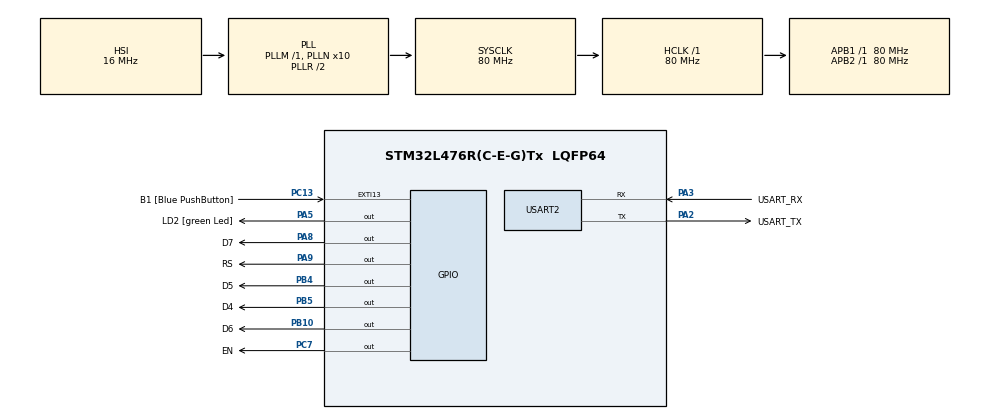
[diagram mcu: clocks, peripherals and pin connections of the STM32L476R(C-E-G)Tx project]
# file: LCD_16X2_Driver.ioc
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Mcu.Family=STM32L4
Mcu.Name=STM32L476R(C-E-G)Tx
Mcu.Package=LQFP64
NVIC.PriorityGroup=NVIC_PRIORITYGROUP_4
PA13\ (JTMS-SWDIO).GPIO_Label=TMS
PA13\ (JTMS-SWDIO).Mode=Serial_Wire
PA13\ (JTMS-SWDIO).Signal=SYS_JTMS-SWDIO
PA14\ (JTCK-SWCLK).GPIO_Label=TCK
PA14\ (JTCK-SWCLK).Mode=Serial_Wire
PA14\ (JTCK-SWCLK).Signal=SYS_JTCK-SWCLK
PA2.GPIO_Label=USART_TX
PA2.GPIO_Mode=GPIO_MODE_AF_PP
PA2.GPIO_PuPd=GPIO_NOPULL
PA2.GPIO_Speed=GPIO_SPEED_FREQ_VERY_HIGH
PA2.Mode=Asynchronous
PA2.Signal=USART2_TX
PA3.GPIO_Label=USART_RX
PA3.GPIO_Mode=GPIO_MODE_AF_PP
PA3.GPIO_PuPd=GPIO_NOPULL
PA3.GPIO_Speed=GPIO_SPEED_FREQ_VERY_HIGH
PA3.Mode=Asynchronous
PA3.Signal=USART2_RX
PA5.GPIO_Label=LD2 [green Led]
PA5.GPIO_ModeDefaultOutputPP=GPIO_MODE_OUTPUT_PP
PA5.GPIO_PuPd=GPIO_NOPULL
PA5.GPIO_Speed=GPIO_SPEED_FREQ_LOW
PA5.Signal=GPIO_Output
PA8.GPIO_Label=D7
PA8.Signal=GPIO_Output
PA9.GPIO_Label=RS
PA9.Signal=GPIO_Output
PB10.GPIO_Label=D6
PB10.Signal=GPIO_Output
PB3\ (JTDO-TRACESWO).GPIO_Label=SWO
PB3\ (JTDO-TRACESWO).Signal=SYS_JTDO-SWO
PB4\ (NJTRST).GPIO_Label=D5
PB4\ (NJTRST).Signal=GPIO_Output
PB5.GPIO_Label=D4
PB5.Signal=GPIO_Output
PC13.GPIO_Label=B1 [Blue PushButton]
PC13.GPIO_ModeDefaultEXTI=GPIO_MODE_IT_FALLING
PC13.GPIO_PuPd=GPIO_NOPULL
PC13.Signal=GPXTI13
PC14-OSC32_IN\ (PC14).Mode=LSE-External-Oscillator
PC14-OSC32_IN\ (PC14).Signal=RCC_OSC32_IN
PC15-OSC32_OUT\ (PC15).Mode=LSE-External-Oscillator
PC15-OSC32_OUT\ (PC15).Signal=RCC_OSC32_OUT
PC7.GPIO_Label=EN
PC7.Signal=GPIO_Output
PH0-OSC_IN\ (PH0).Signal=RCC_OSC_IN
PH1-OSC_OUT\ (PH1).Signal=RCC_OSC_OUT
ProjectManager.HeapSize=0x200
ProjectManager.StackSize=0x400
ProjectManager.TargetToolchain=STM32CubeIDE
RCC.ADCFreq_Value=64000000
RCC.AHBFreq_Value=80000000
RCC.APB1Freq_Value=80000000
RCC.APB1TimFreq_Value=80000000
RCC.APB2Freq_Value=80000000
RCC.APB2TimFreq_Value=80000000
RCC.CortexFreq_Value=80000000
RCC.HCLKFreq_Value=80000000
RCC.HSE_VALUE=8000000
RCC.HSI_VALUE=16000000
RCC.MSI_VALUE=4000000
RCC.PLLN=10
RCC.PLLSourceVirtual=RCC_PLLSOURCE_HSI
RCC.PREFETCH_ENABLE=1
RCC.SYSCLKFreq_VALUE=80000000
RCC.SYSCLKSource=RCC_SYSCLKSOURCE_PLLCLK
RCC.USBFreq_Value=64000000
RCC.VCOOutputFreq_Value=160000000
USART2.VirtualMode-Asynchronous=VM_ASYNC
board=NUCLEO-L476RG

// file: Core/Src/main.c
/* USER CODE BEGIN Header */
/**
  ******************************************************************************
  * @file           : main.c
  * @brief          : Main program body
  ******************************************************************************
  * @attention
  *
  * Copyright (c) 2023 STMicroelectronics.
  * All rights reserved.
  *
  * This software is licensed under terms that can be found in the LICENSE file
  * in the root directory of this software component.
  * If no LICENSE file comes with this software, it is provided AS-IS.
  *
  ******************************************************************************
  */
/* USER CODE END Header */
#include "main.h"

UART_HandleTypeDef huart2;

void SystemClock_Config(void);
static void MX_GPIO_Init(void);
static void MX_USART2_UART_Init(void);
/* USER CODE BEGIN PFP */

void transmit_bits_to_LCD(uint8_t RS, char DATA){

	HAL_GPIO_WritePin(GPIOC,GPIO_PIN_7, 0); // reset EN
	HAL_Delay(0.1);

	HAL_GPIO_WritePin(GPIOA,GPIO_PIN_9,RS);                // choose RS

	// transmit higher 4 bits
	HAL_GPIO_WritePin(GPIOA,GPIO_PIN_8,  DATA & (1 << 7)); // D7
	HAL_GPIO_WritePin(GPIOB,GPIO_PIN_10, DATA & (1 << 6)); // D6
	HAL_GPIO_WritePin(GPIOB,GPIO_PIN_4,  DATA & (1 << 5)); // D5
	HAL_GPIO_WritePin(GPIOB,GPIO_PIN_5,  DATA & (1 << 4)); // D4

	HAL_Delay(0.1);
	HAL_GPIO_WritePin(GPIOC,GPIO_PIN_7,  1); // set EN
	HAL_Delay(0.1);
	HAL_GPIO_WritePin(GPIOC,GPIO_PIN_7,  0); // reset EN

	// transmit lower 4 bits
	HAL_GPIO_WritePin(GPIOA,GPIO_PIN_8,  DATA & (1 << 3)); // D7
	HAL_GPIO_WritePin(GPIOB,GPIO_PIN_10, DATA & (1 << 2)); // D6
	HAL_GPIO_WritePin(GPIOB,GPIO_PIN_4,  DATA & (1 << 1)); // D5
	HAL_GPIO_WritePin(GPIOB,GPIO_PIN_5,  DATA & (1 << 0)); // D4

	HAL_Delay(0.1);
	HAL_GPIO_WritePin(GPIOC,GPIO_PIN_7, 1); // set EN
	HAL_Delay(0.1);
	HAL_GPIO_WritePin(GPIOC,GPIO_PIN_7, 0); // reset EN
}

void set_LCD_transmission_mode(uint8_t RS, char DATA){
	HAL_GPIO_WritePin(GPIOC,GPIO_PIN_7, 0); // reset EN
	HAL_Delay(0.1);

	HAL_GPIO_WritePin(GPIOA,GPIO_PIN_9,RS);                // choose RS

	// transmit higher 4 bits
	HAL_GPIO_WritePin(GPIOA,GPIO_PIN_8,  DATA & (1 << 7)); // D7
	HAL_GPIO_WritePin(GPIOB,GPIO_PIN_10, DATA & (1 << 6)); // D6
	HAL_GPIO_WritePin(GPIOB,GPIO_PIN_4,  DATA & (1 << 5)); // D5
	HAL_GPIO_WritePin(GPIOB,GPIO_PIN_5,  DATA & (1 << 4)); // D4

	HAL_Delay(0.1);
	HAL_GPIO_WritePin(GPIOC,GPIO_PIN_7,  1); // set EN
	HAL_Delay(0.1);
	HAL_GPIO_WritePin(GPIOC,GPIO_PIN_7,  0); // reset EN
}

void transmit_characters_to_1st_line(char* string){

	transmit_bits_to_LCD(0, 0b00000010); // set cursor to the 1st column of 2nd line
	while(*string != '\0'){
		transmit_bits_to_LCD(1,*string);
		string++;
	}
}

void transmit_characters_to_2nd_line(char* string){

	transmit_bits_to_LCD(0, 0b11000000); // set cursor to the 1st column of 2nd line
	while(*string != '\0'){
		transmit_bits_to_LCD(1,*string);
		string++;
	}
}
/* USER CODE END PFP */

int main(void)
{

  /* MCU Configuration--------------------------------------------------------*/

  /* Reset of all peripherals, Initializes the Flash interface and the Systick. */
  HAL_Init();

  /* Configure the system clock */
  SystemClock_Config();

  /* Initialize all configured peripherals */
  MX_GPIO_Init();
  MX_USART2_UART_Init();
  /* USER CODE BEGIN 2 */
  HAL_Delay(1000);
  char INSTRUCTION_ON_POWERUP_4BIT_MODE = 0b00100000;
  char INSTRUCTION_4BIT_MODE_AND_5X8FONT_AND_1LINEDISPLAY = 0b00100000;
  char INSTRUCTION_4BIT_MODE_AND_5X8FONT_AND_2LINEDISPLAY = 0b00101000;
  char INSTRUCTION_TURNON_DISPLAY_AND_CURSOR = 0b00001110;
  char INSTRUCTION_MOVE_CURSOR_ON_WRITE = 0b00000110;
  char INSTRCTION_RETURN_TO_1STLINE = 0b00000010;
  char INSTRCTION_CLEAR_DISPLAY = 0b00000001;

  uint8_t INSTRUCTION_REGISTER = 0;
  uint8_t DATA_REGISTER = 1;

  set_LCD_transmission_mode(INSTRUCTION_REGISTER, INSTRUCTION_ON_POWERUP_4BIT_MODE);
  transmit_bits_to_LCD(INSTRUCTION_REGISTER,INSTRUCTION_4BIT_MODE_AND_5X8FONT_AND_2LINEDISPLAY);
  transmit_bits_to_LCD(INSTRUCTION_REGISTER,INSTRUCTION_TURNON_DISPLAY_AND_CURSOR);
  transmit_bits_to_LCD(INSTRUCTION_REGISTER,INSTRUCTION_MOVE_CURSOR_ON_WRITE);
  transmit_bits_to_LCD(INSTRUCTION_REGISTER,INSTRCTION_RETURN_TO_1STLINE);

  /*
  transmit_bits_to_LCD(DATA_REGISTER,'H');
  transmit_bits_to_LCD(DATA_REGISTER,'I');
  transmit_bits_to_LCD(DATA_REGISTER,' ');
  transmit_bits_to_LCD(DATA_REGISTER,'T');

  HAL_Delay(2000);
  transmit_bits_to_LCD(INSTRUCTION_REGISTER,INSTRCTION_CLEAR_DISPLAY);
*/

  char V[] = "Vset:20V <3 ,,/,,";
  transmit_characters_to_1st_line(V);

  char I[] = "Iset:3A <3";
  transmit_characters_to_2nd_line(I);
  /* USER CODE END 2 */

  /* Infinite loop */
  while (1)
  {

  }
}

void SystemClock_Config(void)
{
  RCC_OscInitTypeDef RCC_OscInitStruct = {0};
  RCC_ClkInitTypeDef RCC_ClkInitStruct = {0};

  /** Configure the main internal regulator output voltage
  */
  if (HAL_PWREx_ControlVoltageScaling(PWR_REGULATOR_VOLTAGE_SCALE1) != HAL_OK)
  {
    Error_Handler();
  }

  /** Initializes the RCC Oscillators according to the specified parameters
  * in the RCC_OscInitTypeDef structure.
  */
  RCC_OscInitStruct.OscillatorType = RCC_OSCILLATORTYPE_HSI;
  RCC_OscInitStruct.HSIState = RCC_HSI_ON;
  RCC_OscInitStruct.HSICalibrationValue = RCC_HSICALIBRATION_DEFAULT;
  RCC_OscInitStruct.PLL.PLLState = RCC_PLL_ON;
  RCC_OscInitStruct.PLL.PLLSource = RCC_PLLSOURCE_HSI;
  RCC_OscInitStruct.PLL.PLLM = 1;
  RCC_OscInitStruct.PLL.PLLN = 10;
  RCC_OscInitStruct.PLL.PLLP = RCC_PLLP_DIV7;
  RCC_OscInitStruct.PLL.PLLQ = RCC_PLLQ_DIV2;
  RCC_OscInitStruct.PLL.PLLR = RCC_PLLR_DIV2;
  if (HAL_RCC_OscConfig(&RCC_OscInitStruct) != HAL_OK)
  {
    Error_Handler();
  }

  /** Initializes the CPU, AHB and APB buses clocks
  */
  RCC_ClkInitStruct.ClockType = RCC_CLOCKTYPE_HCLK|RCC_CLOCKTYPE_SYSCLK
                              |RCC_CLOCKTYPE_PCLK1|RCC_CLOCKTYPE_PCLK2;
  RCC_ClkInitStruct.SYSCLKSource = RCC_SYSCLKSOURCE_PLLCLK;
  RCC_ClkInitStruct.AHBCLKDivider = RCC_SYSCLK_DIV1;
  RCC_ClkInitStruct.APB1CLKDivider = RCC_HCLK_DIV1;
  RCC_ClkInitStruct.APB2CLKDivider = RCC_HCLK_DIV1;

  if (HAL_RCC_ClockConfig(&RCC_ClkInitStruct, FLASH_LATENCY_4) != HAL_OK)
  {
    Error_Handler();
  }
}

static void MX_USART2_UART_Init(void)
{

  huart2.Instance = USART2;
  huart2.Init.BaudRate = 115200;
  huart2.Init.WordLength = UART_WORDLENGTH_8B;
  huart2.Init.StopBits = UART_STOPBITS_1;
  huart2.Init.Parity = UART_PARITY_NONE;
  huart2.Init.Mode = UART_MODE_TX_RX;
  huart2.Init.HwFlowCtl = UART_HWCONTROL_NONE;
  huart2.Init.OverSampling = UART_OVERSAMPLING_16;
  huart2.Init.OneBitSampling = UART_ONE_BIT_SAMPLE_DISABLE;
  huart2.AdvancedInit.AdvFeatureInit = UART_ADVFEATURE_NO_INIT;
  if (HAL_UART_Init(&huart2) != HAL_OK)
  {
    Error_Handler();
  }

}

static void MX_GPIO_Init(void)
{
  GPIO_InitTypeDef GPIO_InitStruct = {0};

  /* GPIO Ports Clock Enable */
  __HAL_RCC_GPIOC_CLK_ENABLE();
  __HAL_RCC_GPIOH_CLK_ENABLE();
  __HAL_RCC_GPIOA_CLK_ENABLE();
  __HAL_RCC_GPIOB_CLK_ENABLE();

  /*Configure GPIO pin Output Level */
  HAL_GPIO_WritePin(GPIOA, LD2_Pin|D7_Pin|RS_Pin, GPIO_PIN_RESET);

  /*Configure GPIO pin Output Level */
  HAL_GPIO_WritePin(GPIOB, D6_Pin|D5_Pin|D4_Pin, GPIO_PIN_RESET);

  /*Configure GPIO pin Output Level */
  HAL_GPIO_WritePin(EN_GPIO_Port, EN_Pin, GPIO_PIN_RESET);

  /*Configure GPIO pin : B1_Pin */
  GPIO_InitStruct.Pin = B1_Pin;
  GPIO_InitStruct.Mode = GPIO_MODE_IT_FALLING;
  GPIO_InitStruct.Pull = GPIO_NOPULL;
  HAL_GPIO_Init(B1_GPIO_Port, &GPIO_InitStruct);

  /*Configure GPIO pins : LD2_Pin D7_Pin RS_Pin */
  GPIO_InitStruct.Pin = LD2_Pin|D7_Pin|RS_Pin;
  GPIO_InitStruct.Mode = GPIO_MODE_OUTPUT_PP;
  GPIO_InitStruct.Pull = GPIO_NOPULL;
  GPIO_InitStruct.Speed = GPIO_SPEED_FREQ_LOW;
  HAL_GPIO_Init(GPIOA, &GPIO_InitStruct);

  /*Configure GPIO pins : D6_Pin D5_Pin D4_Pin */
  GPIO_InitStruct.Pin = D6_Pin|D5_Pin|D4_Pin;
  GPIO_InitStruct.Mode = GPIO_MODE_OUTPUT_PP;
  GPIO_InitStruct.Pull = GPIO_NOPULL;
  GPIO_InitStruct.Speed = GPIO_SPEED_FREQ_LOW;
  HAL_GPIO_Init(GPIOB, &GPIO_InitStruct);

  /*Configure GPIO pin : EN_Pin */
  GPIO_InitStruct.Pin = EN_Pin;
  GPIO_InitStruct.Mode = GPIO_MODE_OUTPUT_PP;
  GPIO_InitStruct.Pull = GPIO_NOPULL;
  GPIO_InitStruct.Speed = GPIO_SPEED_FREQ_LOW;
  HAL_GPIO_Init(EN_GPIO_Port, &GPIO_InitStruct);

}

void Error_Handler(void)
{
  __disable_irq();
  while (1)
  {
  }
}
